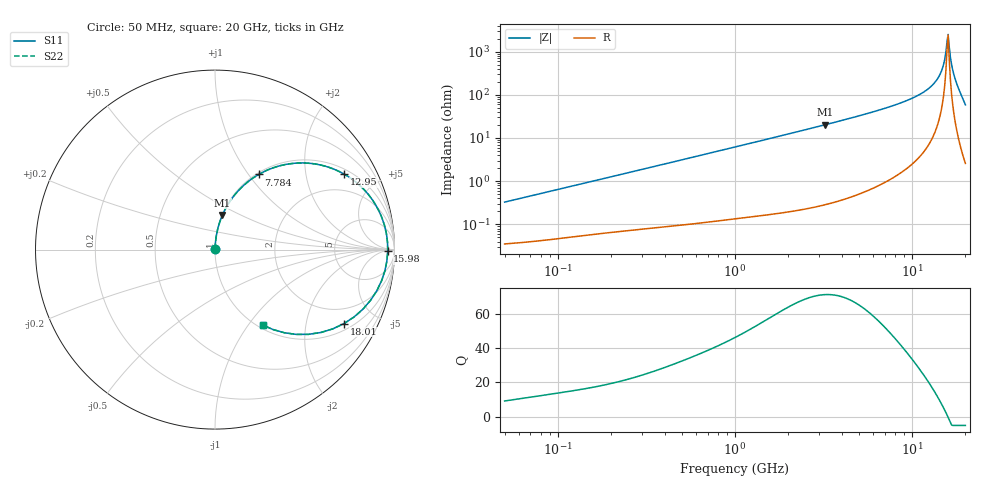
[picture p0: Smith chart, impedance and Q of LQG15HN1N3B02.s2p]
!Murata Part Number: LQG15HN1N3B02
!These Parameters are Measured in Series Mode Connection
!  o--[Z]--o
!Port1  Port2
!  o-------o
!Freq. Start=50[MHz] Stop=20[GHz], 401[Steps]
# Hz S RI R 50
!Freq.(Hz) S11(Real) S11(Imag) S21(Real) S21(Imag) S12(Real) S12(Imag) S22(Real) S22(Imag)
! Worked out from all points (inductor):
!   401 points, 50 MHz to 20 GHz, reference 50 ohm
!   read as one part in series: L = 1.03 nH near 51.52 MHz
!   highest Q = 71.1 at 3.217 GHz (marker M1), where L = 998 pH
!   self-resonance near 15.74 GHz
!   S11 on the Smith chart (normalised r, x): 50 MHz: 1.00, +0.01; 7.784 GHz: 1.02, +1.12; 12.95 GHz: 1.19, +3.27; 15.98 GHz: 50, -11; 18.01 GHz: 1.26, -3.30; 20 GHz: 1.05, -1.17
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5e7  0.000363 0.00326  0.9996 -0.00326  0.9996 -0.00326  0.000363 0.00326
1.364002e8  0.000618 0.0087  0.9994 -0.0087  0.9994 -0.0087  0.000618 0.0087
3.721004e8  0.00138 0.0232  0.9986 -0.0232  0.9986 -0.0232  0.00138 0.0232
1e9  0.00513 0.0614  0.9949 -0.0614  0.9949 -0.0614  0.00513 0.0614
2.728004e9  0.0303 0.1645  0.9697 -0.1645  0.9697 -0.1645  0.0303 0.1645
3.216634e9  0.0416 0.1929  0.9584 -0.1929  0.9584 -0.1929  0.0416 0.1929
5.194772e9  0.1069 0.3013  0.8931 -0.3013  0.8931 -0.3013  0.1069 0.3013
7.442007e9  0.2215 0.4052  0.7785 -0.4052  0.7785 -0.4052  0.2215 0.4052
7.784049e9  0.243 0.4184  0.757 -0.4184  0.757 -0.4184  0.243 0.4184
1.019291e10  0.4289 0.4797  0.5711 -0.4797  0.5711 -0.4797  0.4289 0.4797
1.295331e10  0.7176 0.4218  0.2824 -0.4218  0.2824 -0.4218  0.7176 0.4218
1.396067e10  0.831 0.3337  0.169 -0.3337  0.169 -0.3337  0.831 0.3337
1.460232e10  0.8949 0.2495  0.1051 -0.2495  0.1051 -0.2495  0.8949 0.2495
1.504638e10  0.9302 0.1772  0.0698 -0.1772  0.0698 -0.1772  0.9302 0.1772
1.550395e10  0.9546 0.0909  0.0454 -0.0909  0.0454 -0.0909  0.9546 0.0909
1.573793e10  0.961 0.0428  0.039 -0.0428  0.039 -0.0428  0.961 0.0428
1.597544e10  0.9624 -0.00831  0.0376 0.00831  0.0376 0.00831  0.9624 -0.00831
1.621653e10  0.958 -0.0618  0.042 0.0618  0.042 0.0618  0.958 -0.0618
1.721783e10  0.8677 -0.2814  0.1323 0.2814  0.1323 0.2814  0.8677 -0.2814
1.800918e10  0.7179 -0.4127  0.2821 0.4127  0.2821 0.4127  0.7179 -0.4127
1.88369e10  0.5212 -0.4721  0.4788 0.4721  0.4788 0.4721  0.5212 -0.4721
2e10  0.2655 -0.4202  0.7345 0.4202  0.7345 0.4202  0.2655 -0.4202
